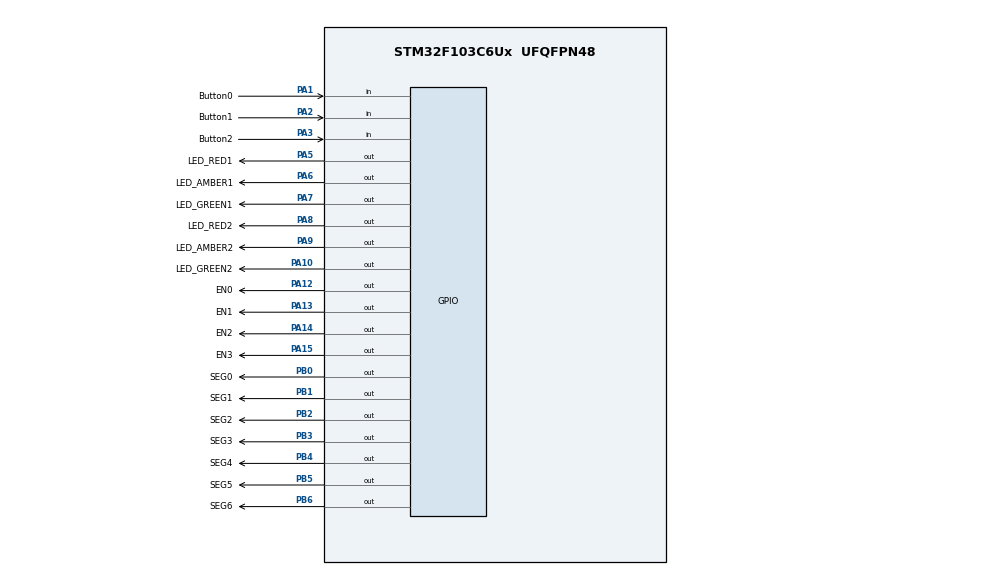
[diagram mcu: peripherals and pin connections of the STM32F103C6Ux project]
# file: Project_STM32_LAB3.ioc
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Mcu.Family=STM32F1
Mcu.Name=STM32F103C6Ux
Mcu.Package=UFQFPN48
NVIC.PriorityGroup=NVIC_PRIORITYGROUP_4
NVIC.TIM2_IRQn=true\:0\:0\:false\:false\:true\:true\:true
PA1.GPIO_Label=Button0
PA1.GPIO_PuPd=GPIO_PULLUP
PA1.Signal=GPIO_Input
PA10.GPIO_Label=LED_GREEN2
PA10.Signal=GPIO_Output
PA12.GPIO_Label=EN0
PA12.Signal=GPIO_Output
PA13.GPIO_Label=EN1
PA13.Signal=GPIO_Output
PA14.GPIO_Label=EN2
PA14.Signal=GPIO_Output
PA15.GPIO_Label=EN3
PA15.Signal=GPIO_Output
PA2.GPIO_Label=Button1
PA2.GPIO_PuPd=GPIO_PULLUP
PA2.Signal=GPIO_Input
PA3.GPIO_Label=Button2
PA3.GPIO_PuPd=GPIO_PULLUP
PA3.Signal=GPIO_Input
PA5.GPIO_Label=LED_RED1
PA5.Signal=GPIO_Output
PA6.GPIO_Label=LED_AMBER1
PA6.Signal=GPIO_Output
PA7.GPIO_Label=LED_GREEN1
PA7.Signal=GPIO_Output
PA8.GPIO_Label=LED_RED2
PA8.Signal=GPIO_Output
PA9.GPIO_Label=LED_AMBER2
PA9.Signal=GPIO_Output
PB0.GPIO_Label=SEG0
PB0.Signal=GPIO_Output
PB1.GPIO_Label=SEG1
PB1.Signal=GPIO_Output
PB2.GPIO_Label=SEG2
PB2.Signal=GPIO_Output
PB3.GPIO_Label=SEG3
PB3.Signal=GPIO_Output
PB4.GPIO_Label=SEG4
PB4.Signal=GPIO_Output
PB5.GPIO_Label=SEG5
PB5.Signal=GPIO_Output
PB6.GPIO_Label=SEG6
PB6.Signal=GPIO_Output
ProjectManager.HeapSize=0x200
ProjectManager.StackSize=0x400
ProjectManager.TargetToolchain=STM32CubeIDE
RCC.AHBFreq_Value=8000000
RCC.APB1Freq_Value=8000000
RCC.APB1TimFreq_Value=8000000
RCC.APB2Freq_Value=8000000
RCC.APB2TimFreq_Value=8000000
RCC.HCLKFreq_Value=8000000
TIM2.Period=9
TIM2.Prescaler=7999
VP_SYS_VS_ND.Mode=No_Debug
VP_TIM2_VS_ClockSourceINT.Mode=Internal
board=custom

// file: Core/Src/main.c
/* USER CODE BEGIN Header */
/**
  ******************************************************************************
  * @file           : main.c
  * @brief          : Main program body
  ******************************************************************************
  * @attention
  *
  * <h2><center>&copy; Copyright (c) 2024 STMicroelectronics.
  * All rights reserved.</center></h2>
  *
  * This software component is licensed by ST under BSD 3-Clause license,
  * the "License"; You may not use this file except in compliance with the
  * License. You may obtain a copy of the License at:
  *                        opensource.org/licenses/BSD-3-Clause
  *
  ******************************************************************************
  */
/* USER CODE END Header */
#include "main.h"

/* USER CODE BEGIN Includes */
#include "global.h"
/* USER CODE END Includes */

TIM_HandleTypeDef htim2;

void SystemClock_Config(void);
static void MX_GPIO_Init(void);
static void MX_TIM2_Init(void);

int main(void)
{

  /* MCU Configuration--------------------------------------------------------*/

  /* Reset of all peripherals, Initializes the Flash interface and the Systick. */
  HAL_Init();

  /* Configure the system clock */
  SystemClock_Config();

  /* Initialize all configured peripherals */
  MX_GPIO_Init();
  MX_TIM2_Init();
  /* USER CODE BEGIN 2 */
  HAL_TIM_Base_Start_IT(&htim2);
  /* USER CODE END 2 */

  /* Infinite loop */
  /* USER CODE BEGIN WHILE */
  status = INIT;
  initButton();
  init7SEG();
//  setTimer(3, 500); 	// Timer display 7SEG
  SCH_Init();
  SCH_Add_Task(fsm_automatic1, 0, 100);
  SCH_Add_Task(fsm_automatic2, 50, 100);
  SCH_Add_Task(fsm_manual, 100, 100);
  SCH_Add_Task(run_seven_segment, 150, 500);
  while (1)
  {
	  SCH_Dispatch_Tasks();
    /* USER CODE END WHILE */

  }
}

void SystemClock_Config(void)
{
  RCC_OscInitTypeDef RCC_OscInitStruct = {0};
  RCC_ClkInitTypeDef RCC_ClkInitStruct = {0};

  /** Initializes the RCC Oscillators according to the specified parameters
  * in the RCC_OscInitTypeDef structure.
  */
  RCC_OscInitStruct.OscillatorType = RCC_OSCILLATORTYPE_HSI;
  RCC_OscInitStruct.HSIState = RCC_HSI_ON;
  RCC_OscInitStruct.HSICalibrationValue = RCC_HSICALIBRATION_DEFAULT;
  RCC_OscInitStruct.PLL.PLLState = RCC_PLL_NONE;
  if (HAL_RCC_OscConfig(&RCC_OscInitStruct) != HAL_OK)
  {
    Error_Handler();
  }
  /** Initializes the CPU, AHB and APB buses clocks
  */
  RCC_ClkInitStruct.ClockType = RCC_CLOCKTYPE_HCLK|RCC_CLOCKTYPE_SYSCLK
                              |RCC_CLOCKTYPE_PCLK1|RCC_CLOCKTYPE_PCLK2;
  RCC_ClkInitStruct.SYSCLKSource = RCC_SYSCLKSOURCE_HSI;
  RCC_ClkInitStruct.AHBCLKDivider = RCC_SYSCLK_DIV1;
  RCC_ClkInitStruct.APB1CLKDivider = RCC_HCLK_DIV1;
  RCC_ClkInitStruct.APB2CLKDivider = RCC_HCLK_DIV1;

  if (HAL_RCC_ClockConfig(&RCC_ClkInitStruct, FLASH_LATENCY_0) != HAL_OK)
  {
    Error_Handler();
  }
}

static void MX_TIM2_Init(void)
{

  TIM_ClockConfigTypeDef sClockSourceConfig = {0};
  TIM_MasterConfigTypeDef sMasterConfig = {0};

  htim2.Instance = TIM2;
  htim2.Init.Prescaler = 7999;
  htim2.Init.CounterMode = TIM_COUNTERMODE_UP;
  htim2.Init.Period = 9;
  htim2.Init.ClockDivision = TIM_CLOCKDIVISION_DIV1;
  htim2.Init.AutoReloadPreload = TIM_AUTORELOAD_PRELOAD_DISABLE;
  if (HAL_TIM_Base_Init(&htim2) != HAL_OK)
  {
    Error_Handler();
  }
  sClockSourceConfig.ClockSource = TIM_CLOCKSOURCE_INTERNAL;
  if (HAL_TIM_ConfigClockSource(&htim2, &sClockSourceConfig) != HAL_OK)
  {
    Error_Handler();
  }
  sMasterConfig.MasterOutputTrigger = TIM_TRGO_RESET;
  sMasterConfig.MasterSlaveMode = TIM_MASTERSLAVEMODE_DISABLE;
  if (HAL_TIMEx_MasterConfigSynchronization(&htim2, &sMasterConfig) != HAL_OK)
  {
    Error_Handler();
  }

}

static void MX_GPIO_Init(void)
{
  GPIO_InitTypeDef GPIO_InitStruct = {0};

  /* GPIO Ports Clock Enable */
  __HAL_RCC_GPIOA_CLK_ENABLE();
  __HAL_RCC_GPIOB_CLK_ENABLE();

  /*Configure GPIO pin Output Level */
  HAL_GPIO_WritePin(GPIOA, LED_RED1_Pin|LED_AMBER1_Pin|LED_GREEN1_Pin|LED_RED2_Pin
                          |LED_AMBER2_Pin|LED_GREEN2_Pin|EN0_Pin|EN1_Pin
                          |EN2_Pin|EN3_Pin, GPIO_PIN_RESET);

  /*Configure GPIO pin Output Level */
  HAL_GPIO_WritePin(GPIOB, SEG0_Pin|SEG1_Pin|SEG2_Pin|SEG3_Pin
                          |SEG4_Pin|SEG5_Pin|SEG6_Pin, GPIO_PIN_RESET);

  /*Configure GPIO pins : Button0_Pin Button1_Pin Button2_Pin */
  GPIO_InitStruct.Pin = Button0_Pin|Button1_Pin|Button2_Pin;
  GPIO_InitStruct.Mode = GPIO_MODE_INPUT;
  GPIO_InitStruct.Pull = GPIO_PULLUP;
  HAL_GPIO_Init(GPIOA, &GPIO_InitStruct);

  /*Configure GPIO pins : LED_RED1_Pin LED_AMBER1_Pin LED_GREEN1_Pin LED_RED2_Pin
                           LED_AMBER2_Pin LED_GREEN2_Pin EN0_Pin EN1_Pin
                           EN2_Pin EN3_Pin */
  GPIO_InitStruct.Pin = LED_RED1_Pin|LED_AMBER1_Pin|LED_GREEN1_Pin|LED_RED2_Pin
                          |LED_AMBER2_Pin|LED_GREEN2_Pin|EN0_Pin|EN1_Pin
                          |EN2_Pin|EN3_Pin;
  GPIO_InitStruct.Mode = GPIO_MODE_OUTPUT_PP;
  GPIO_InitStruct.Pull = GPIO_NOPULL;
  GPIO_InitStruct.Speed = GPIO_SPEED_FREQ_LOW;
  HAL_GPIO_Init(GPIOA, &GPIO_InitStruct);

  /*Configure GPIO pins : SEG0_Pin SEG1_Pin SEG2_Pin SEG3_Pin
                           SEG4_Pin SEG5_Pin SEG6_Pin */
  GPIO_InitStruct.Pin = SEG0_Pin|SEG1_Pin|SEG2_Pin|SEG3_Pin
                          |SEG4_Pin|SEG5_Pin|SEG6_Pin;
  GPIO_InitStruct.Mode = GPIO_MODE_OUTPUT_PP;
  GPIO_InitStruct.Pull = GPIO_NOPULL;
  GPIO_InitStruct.Speed = GPIO_SPEED_FREQ_LOW;
  HAL_GPIO_Init(GPIOB, &GPIO_InitStruct);

}

/* USER CODE BEGIN 4 */
void HAL_TIM_PeriodElapsedCallback(TIM_HandleTypeDef *htim){
	runTimer();
	getKeyInput();
	SCH_Update();
}
/* USER CODE END 4 */

void Error_Handler(void)
{
  __disable_irq();
  while (1)
  {
  }
}

/************************ (C) COPYRIGHT STMicroelectronics *****END OF FILE****/
